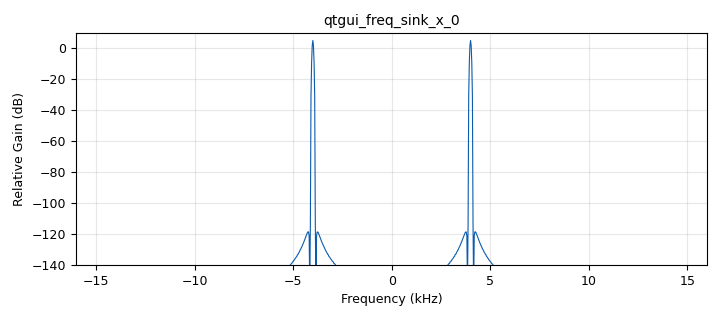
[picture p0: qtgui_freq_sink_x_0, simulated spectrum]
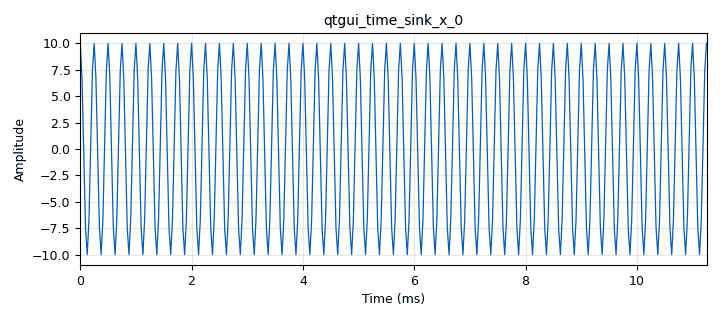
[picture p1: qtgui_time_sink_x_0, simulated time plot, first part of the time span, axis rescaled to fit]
options:
  parameters:
    generate_options: qt_gui
    id: lab1
    output_language: python
    title: Not titled yet
  states: {}

blocks:
- name: amplitud
  id: variable_qtgui_range
  parameters:
    start: '1'
    step: '1'
    stop: '20'
    value: '10'
  states: {}
- name: frecuencia
  id: variable_qtgui_range
  parameters:
    start: '50000'
    step: '10000'
    stop: '200000'
    value: '100000'
  states: {}
- name: samp_rate
  id: variable
  parameters:
    value: 32e3
  states: {}
- name: analog_sig_source_x_0
  id: analog_sig_source_x
  parameters:
    amp: amplitud
    freq: frecuencia
    offset: '0'
    phase: '0'
    samp_rate: samp_rate
    type: float
    waveform: analog.GR_COS_WAVE
  states: {}
- name: blocks_throttle_0
  id: blocks_throttle
  parameters:
    samples_per_second: samp_rate
    type: float
  states: {}
- name: qtgui_freq_sink_x_0
  id: qtgui_freq_sink_x
  parameters:
    bw: samp_rate
    fc: '0'
    fftsize: '1024'
    type: float
  states: {}
- name: qtgui_time_sink_x_0
  id: qtgui_time_sink_x
  parameters:
    size: '1024'
    srate: samp_rate
    type: float
  states: {}

connections:
- [analog_sig_source_x_0, '0', blocks_throttle_0, '0']
- [blocks_throttle_0, '0', qtgui_freq_sink_x_0, '0']
- [blocks_throttle_0, '0', qtgui_time_sink_x_0, '0']

metadata:
  file_format: 1
  grc_version: 3.9.8.0
